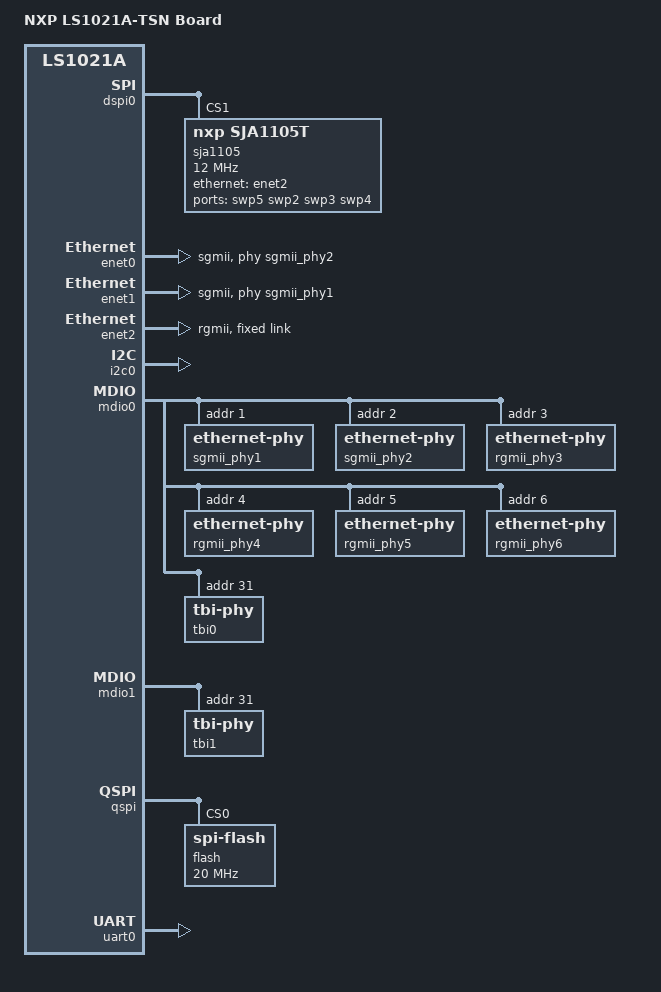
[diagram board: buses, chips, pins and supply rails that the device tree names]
// SPDX-License-Identifier: GPL-2.0
/* Copyright 2016-2018 NXP
 * Copyright 2019 Vladimir Oltean <olteanv@gmail.com>
 */

/dts-v1/;
#include "ls1021a.dtsi"

/ {
	model = "NXP LS1021A-TSN Board";

	aliases {
		enet0-sgmii-phy = &sgmii_phy2;
		enet1-sgmii-phy = &sgmii_phy1;
		spi0 = &qspi;
		spi1 = &dspi1;
		ethernet0 = &enet0;
		ethernet1 = &enet1;
		ethernet2 = &enet2;
		ethernet3 = &swp2;
		ethernet4 = &swp3;
		ethernet5 = &swp4;
		ethernet6 = &swp5;
	};
};

&dspi0 {
	bus-num = <0>;
	status = "okay";

	sja1105: ethernet-switch@1 {
		reg = <0x1>;
		#address-cells = <1>;
		#size-cells = <0>;
		compatible = "nxp,sja1105t";
		/* 12 MHz */
		spi-max-frequency = <12000000>;
		/* Sample data on trailing clock edge */
		spi-cpha;
		/* SPI controller settings for SJA1105 timing requirements */
		fsl,spi-cs-sck-delay = <1000>;
		fsl,spi-sck-cs-delay = <1000>;

		ports {
			#address-cells = <1>;
			#size-cells = <0>;

			swp5: port@0 {
				/* ETH5 written on chassis */
				label = "swp5";
				phy-handle = <&rgmii_phy6>;
				phy-mode = "rgmii-id";
				reg = <0>;
			};

			swp2: port@1 {
				/* ETH2 written on chassis */
				label = "swp2";
				phy-handle = <&rgmii_phy3>;
				phy-mode = "rgmii-id";
				reg = <1>;
			};

			swp3: port@2 {
				/* ETH3 written on chassis */
				label = "swp3";
				phy-handle = <&rgmii_phy4>;
				phy-mode = "rgmii-id";
				reg = <2>;
			};

			swp4: port@3 {
				/* ETH4 written on chassis */
				label = "swp4";
				phy-handle = <&rgmii_phy5>;
				phy-mode = "rgmii-id";
				reg = <3>;
			};

			port@4 {
				/* Internal port connected to eth2 */
				ethernet = <&enet2>;
				phy-mode = "rgmii";
				reg = <4>;

				fixed-link {
					speed = <1000>;
					full-duplex;
				};
			};
		};
	};
};

&enet0 {
	tbi-handle = <&tbi0>;
	phy-handle = <&sgmii_phy2>;
	phy-mode = "sgmii";
	status = "okay";
};

&enet1 {
	tbi-handle = <&tbi1>;
	phy-handle = <&sgmii_phy1>;
	phy-mode = "sgmii";
	status = "okay";
};

/* RGMII delays added via PCB traces */
&enet2 {
	phy-mode = "rgmii";
	status = "okay";

	fixed-link {
		speed = <1000>;
		full-duplex;
	};
};

&i2c0 {
	status = "okay";
};

&mdio0 {
	/* AR8031 */
	sgmii_phy1: ethernet-phy@1 {
		reg = <0x1>;
	};

	/* AR8031 */
	sgmii_phy2: ethernet-phy@2 {
		reg = <0x2>;
	};

	/* BCM5464 quad PHY */
	rgmii_phy3: ethernet-phy@3 {
		reg = <0x3>;
	};

	rgmii_phy4: ethernet-phy@4 {
		reg = <0x4>;
	};

	rgmii_phy5: ethernet-phy@5 {
		reg = <0x5>;
	};

	rgmii_phy6: ethernet-phy@6 {
		reg = <0x6>;
	};

	/* SGMII PCS for enet0 */
	tbi0: tbi-phy@1f {
		reg = <0x1f>;
		device_type = "tbi-phy";
	};
};

&mdio1 {
	/* SGMII PCS for enet1 */
	tbi1: tbi-phy@1f {
		reg = <0x1f>;
		device_type = "tbi-phy";
	};
};

&qspi {
	bus-num = <0>;
	status = "okay";

	flash@0 {
		compatible = "spi-flash";
		spi-max-frequency = <20000000>;
		reg = <0>;
	};
};

&uart0 {
	status = "okay";
};
